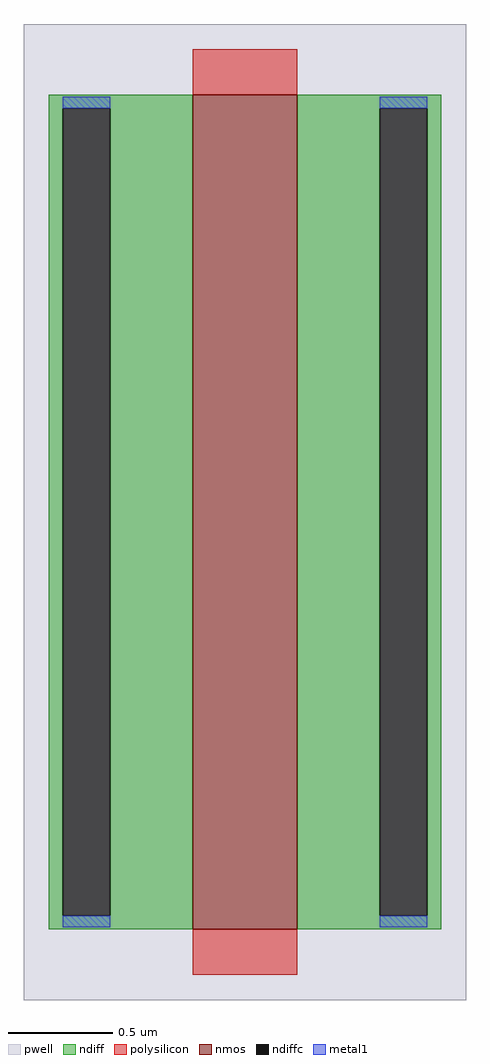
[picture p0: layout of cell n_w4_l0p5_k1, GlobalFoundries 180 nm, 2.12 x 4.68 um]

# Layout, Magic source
magic
tech gf180mcuD
magscale 1 10
<< pwell >>
rect -212 -468 212 468
<< nmos >>
rect -50 -400 50 400
<< ndiff >>
rect -188 -400 -100 -387
rect -100 -400 -50 400
rect 50 -400 100 400
rect 100 -400 188 -387
rect -188 -387 -175 387
rect -129 -387 -100 387
rect 100 -387 129 387
rect 175 -387 188 387
rect -188 387 -100 400
rect 100 387 188 400
<< ndiffc >>
rect -175 -387 -129 387
rect 129 -387 175 387
<< polysilicon >>
rect -50 -444 50 -400
rect -50 400 50 444
<< metal1 >>
rect -175 -398 -129 -387
rect 129 -398 175 -387
rect -175 387 -129 398
rect 129 387 175 398
<< properties >>
string kept_slot w 4 l 0.5 slot 1 from n_w4_l1
<< end >>
